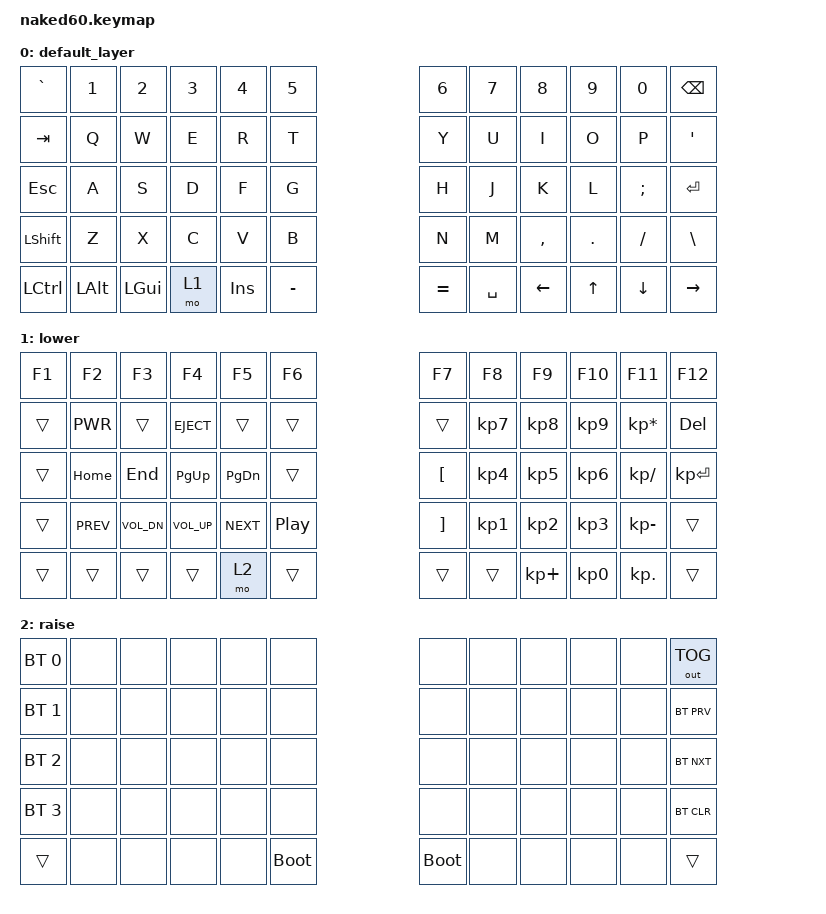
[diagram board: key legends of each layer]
/*
 * Copyright (c) 2020 The ZMK Contributors
 *
 * SPDX-License-Identifier: MIT
 */

#include <behaviors.dtsi>
#include <dt-bindings/zmk/keys.h>
#include <dt-bindings/zmk/bt.h>
#include <dt-bindings/zmk/outputs.h>


/ {
    keymap {
        compatible = "zmk,keymap";

        default_layer {
            // ----------------------------------------------------------------------------------------------------------
            // |   `   |  1   |  2   |  3   |  4   |  5   |-------|-------|   6   |  7   |  8   |  9   |   0   | BSPC  |
            // |  TAB  |  Q   |  W   |  E   |  R   |  T   |-------|-------|   Y   |  U   |  I   |  O   |   P   |  '    |
            // |  ESC  |  A   |  S   |  D   |  F   |  G   |-------|-------|   H   |  J   |  K   |  L   |   ;   | ENTER |
            // | SHIFT |  Z   |  X   |  C   |  V   |  B   |-------|-------|   N   |  M   |  ,   |  .   |   /   |   \   |
            // |-------| LCTL | LALT | LGUI | LOWR |  FN  |   -   |   =   | SPACE | LEFT |  UP  | DOWN | RIGHT |-------|


            bindings = <
                &kp GRAVE  &kp N1    &kp N2   &kp N3   &kp N4 &kp N5                      &kp N6    &kp N7    &kp N8    &kp N9    &kp N0    &kp BSPC
                &kp TAB    &kp Q     &kp W    &kp E    &kp R  &kp T                       &kp Y     &kp U     &kp I     &kp O     &kp P     &kp SQT
                &kp ESC    &kp A     &kp S    &kp D    &kp F  &kp G                       &kp H     &kp J     &kp K     &kp L     &kp SEMI  &kp ENTER
                &kp LSHFT  &kp Z     &kp X    &kp C    &kp V  &kp B                       &kp N     &kp M     &kp COMMA &kp DOT   &kp FSLH  &kp BSLH
                           &kp LCTRL &kp LALT &kp LGUI &mo 1  &kp INS &kp MINUS &kp EQUAL &kp SPACE &kp LEFT  &kp UP    &kp DOWN  &kp RIGHT
            >;
        };

        lower {
            // ----------------------------------------------------------------------------------------------------------
			// |  F1   |  F2  |  F3  |  F4  |  F5  |  F6  |-------|-------|   F7  |  F8   |  F9  | F10  |  F11  |  F12  |
			// |       | POWER|      | EJECT|      |      |-------|-------|       | KP 7  | KP 8 | KP 9 | KP *  |  DEL  |
			// |       | HOME | END  | PGUP | PGDN |      |-------|-------|   {   | KP 4  | KP 5 | KP 6 | KP /  | KPENT |
			// |       | PREV | Vol- | Vol+ | NEXT |  PP  |-------|-------|   }   | KP 1  | KP 2 | KP 3 | KP -  |       |
			// |-------|      |      |      |      | RAISE|       |       |       | KP +  | KP 0 | KP . |       |-------|

            bindings = <
                &kp F1  &kp F2     &kp F3       &kp F4       &kp F5     &kp F6                 &kp F7    &kp F8       &kp F9    &kp F10    &kp F11         &kp F12
                &trans  &kp C_PWR  &trans       &kp C_EJECT  &trans     &trans                 &trans    &kp KP_N7    &kp KP_N8 &kp KP_N9  &kp KP_MULTIPLY &kp DEL
                &trans  &kp HOME   &kp END      &kp PG_UP    &kp PG_DN  &trans                 &kp LBKT  &kp KP_N4    &kp KP_N5 &kp KP_N6  &kp KP_DIVIDE   &kp KP_ENTER
                &trans  &kp C_PREV &kp C_VOL_DN &kp C_VOL_UP &kp C_NEXT &kp C_PP               &kp RBKT  &kp KP_N1    &kp KP_N2 &kp KP_N3  &kp KP_MINUS    &trans
                        &trans     &trans       &trans       &trans     &mo 2    &trans &trans &trans    &kp KP_PLUS  &kp KP_N0 &kp KP_DOT &trans 
            >;
        };

        raise {
			// --------------------------------------------------------------------------------------------
			// |BT_SEL 0|     |     |     |     |     |------|------|     |     |     |     |     |OUT_TOG|
			// |BT_SEL 1|     |     |     |     |     |------|------|     |     |     |     |     |BT_PRV |
			// |BT_SEL 2|     |     |     |     |     |------|------|     |     |     |     |     |BT_NXT |
			// |BT_SEL 3|     |     |     |     |     |------|------|     |     |     |     |     |BT_CLR |
			// |--------|     |     |     |     |     |BOOTLD|BOOTLD|     |     |     |     |     |-------|

			bindings = <
				&bt BT_SEL 0 &none   &none  &none  &none  &none                           &none  &none  &none  &none  &none  &out OUT_TOG
				&bt BT_SEL 1 &none   &none  &none  &none  &none                           &none  &none  &none  &none  &none  &bt BT_PRV
				&bt BT_SEL 2 &none   &none  &none  &none  &none                           &none  &none  &none  &none  &none  &bt BT_NXT
				&bt BT_SEL 3 &none   &none  &none  &none  &none                           &none  &none  &none  &none  &none  &bt BT_CLR
				             &trans  &none  &none  &none  &none  &bootloader &bootloader  &none  &none  &none  &none  &trans
			>;
		};
    };
};
